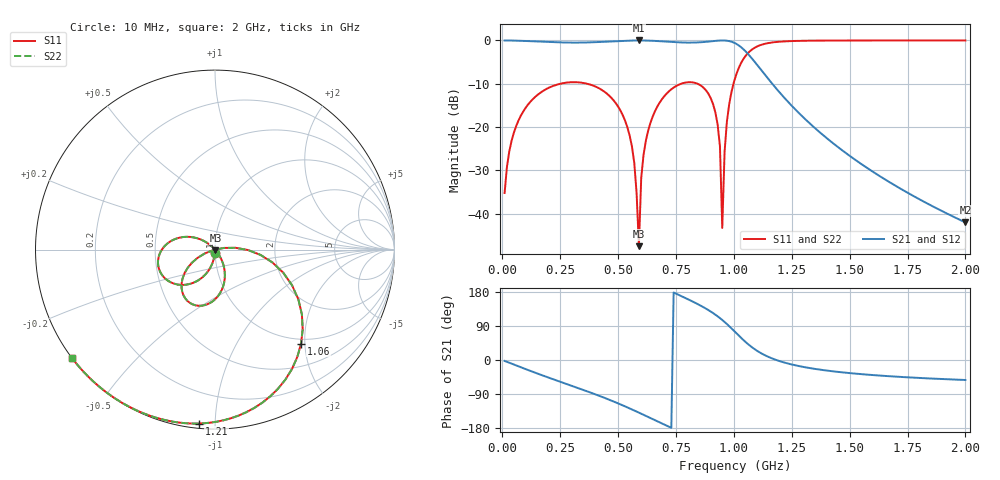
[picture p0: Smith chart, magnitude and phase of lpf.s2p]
# GHZ S MA R 50
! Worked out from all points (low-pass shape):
!   200 points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, 10 MHz to 2 GHz, reference 50 ohm
!   highest |S21| = 0.00 dB at 590 MHz (marker M1); lowest = -42.0 dB at 2 GHz (marker M2)
!   |S21| within 3 dB of the highest: start of sweep to 1.059 GHz
!   lowest |S11| = -47.5 dB at 590 MHz (marker M3), VSWR 1.01, Z = 50.3 - j0.319 ohm
!   |S11| at or under -10 dB: start of sweep to 250.4 MHz; 366.7 MHz to 772.4 MHz (405.7 MHz wide, 71.2 % of centre); 842.9 MHz to 998.5 MHz (155.6 MHz wide, 16.9 % of centre)
!   |S22| runs from -47.5 to 0.0 dB; largest |S21 - S12| = 0
!   S11 on the Smith chart (normalised r, x): 10 MHz: 1.00, -0.03; 1.06 GHz: 0.91, -1.92; 1.21 GHz: 0.02, -0.91; 2 GHz: 0.00, -0.34
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0.01  0.01732 -93.3  0.9998 -2.4  0.9998 -2.4  0.01732 -93.3
0.04  0.06927 -99.7  0.9976 -9.6  0.9976 -9.6  0.06927 -99.7
0.1  0.1656 -113.8  0.9862 -23.8  0.9862 -23.8  0.1656 -113.8
0.35  0.3232 -169.0  0.9463 -79.0  0.9463 -79.0  0.3232 -169.0
0.54  0.09976 145.0  0.995 -125.0  0.995 -125.0  0.09976 145.0
0.57  0.03857 136.7  0.9993 -133.3  0.9993 -133.3  0.03857 136.7
0.59  0.00421 -48.9  1 -138.9  1 -138.9  0.00421 -48.9
0.6  0.02591 -51.7  0.9997 -141.7  0.9997 -141.7  0.02591 -51.7
0.61  0.04767 -54.6  0.9989 -144.6  0.9989 -144.6  0.04767 -54.6
0.68  0.1923 -74.7  0.9813 -164.7  0.9813 -164.7  0.1923 -74.7
0.8  0.3288 -109.1  0.9444 160.9  0.9444 160.9  0.3288 -109.1
0.9  0.216 -142.0  0.9764 128.0  0.9764 128.0  0.216 -142.0
0.94  0.05981 -159.4  0.9982 110.6  0.9982 110.6  0.05981 -159.4
0.95  0.00685 -164.4  1 105.6  1 105.6  0.00685 -164.4
0.96  0.05174 10.4  0.9987 100.4  0.9987 100.4  0.05174 10.4
0.97  0.1156 4.9  0.9933 94.9  0.9933 94.9  0.1156 4.9
1.01  0.4016 -18.7  0.9158 71.3  0.9158 71.3  0.4016 -18.7
1.06  0.7097 -47.5  0.7045 42.5  0.7045 42.5  0.7097 -47.5
1.21  0.9731 -95.3  0.2302 -5.3  0.2302 -5.3  0.9731 -95.3
1.34  0.9947 -112.5  0.1029 -22.5  0.1029 -22.5  0.9947 -112.5
1.67  0.9997 -132.8  0.02328 -42.8  0.02328 -42.8  0.9997 -132.8
2  1 -142.7  0.007914 -52.7  0.007914 -52.7  1 -142.7
